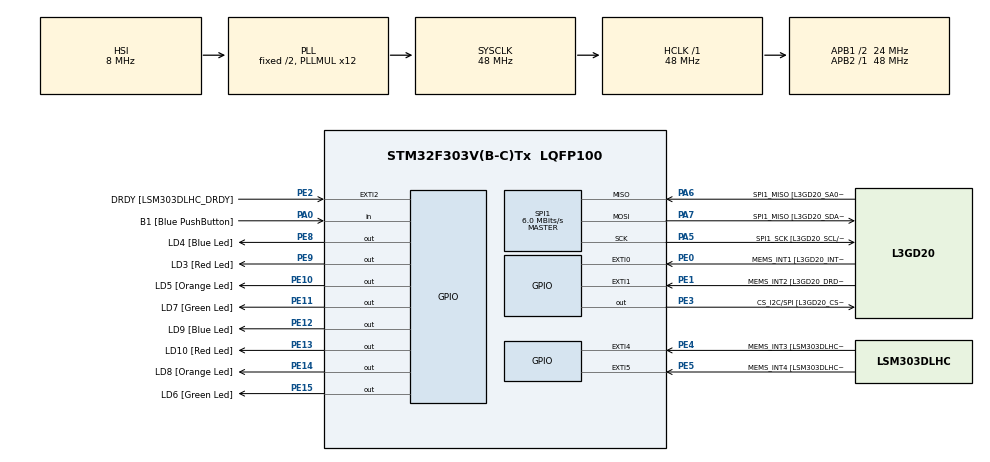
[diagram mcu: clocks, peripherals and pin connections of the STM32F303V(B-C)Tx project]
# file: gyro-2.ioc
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Mcu.Family=STM32F3
Mcu.Name=STM32F303V(B-C)Tx
Mcu.Package=LQFP100
NVIC.PriorityGroup=NVIC_PRIORITYGROUP_0
NVIC.SPI1_IRQn=true\:0\:0\:false\:false\:true\:true\:true\:true
PA0.GPIO_Label=B1 [Blue PushButton]
PA0.GPIO_Mode=GPIO_MODE_INPUT
PA0.GPIO_PuPd=GPIO_NOPULL
PA0.Signal=GPIO_Input
PA11.GPIO_Label=DM
PA11.Signal=USB_DM
PA12.GPIO_Label=DP
PA12.Signal=USB_DP
PA13.GPIO_Label=SWDIO
PA13.Signal=SYS_JTMS-SWDIO
PA14.GPIO_Label=SWCLK
PA14.Signal=SYS_JTCK-SWCLK
PA5.GPIO_Label=SPI1_SCK [L3GD20_SCL/SPC]
PA5.GPIO_Mode=GPIO_MODE_AF_PP
PA5.GPIO_PuPd=GPIO_NOPULL
PA5.GPIO_Speed=GPIO_SPEED_FREQ_LOW
PA5.Mode=Full_Duplex_Master
PA5.Signal=SPI1_SCK
PA6.GPIO_Label=SPI1_MISO [L3GD20_SA0/SDO]
PA6.GPIO_Mode=GPIO_MODE_AF_PP
PA6.GPIO_PuPd=GPIO_NOPULL
PA6.GPIO_Speed=GPIO_SPEED_FREQ_LOW
PA6.Mode=Full_Duplex_Master
PA6.Signal=SPI1_MISO
PA7.GPIO_Label=SPI1_MISO [L3GD20_SDA/SDI/SDO]
PA7.GPIO_Mode=GPIO_MODE_AF_PP
PA7.GPIO_PuPd=GPIO_NOPULL
PA7.GPIO_Speed=GPIO_SPEED_FREQ_LOW
PA7.Mode=Full_Duplex_Master
PA7.Signal=SPI1_MOSI
PB3.GPIO_Label=SWO
PB3.Signal=SYS_JTDO-TRACESWO
PB6.GPIO_FM6=__NULL
PB6.GPIO_Label=I2C1_SCL [LSM303DLHC_SCL]
PB6.GPIO_Mode=GPIO_MODE_AF_OD
PB6.GPIO_PuPd=GPIO_NOPULL
PB6.GPIO_Speed=GPIO_SPEED_FREQ_LOW
PB6.Signal=I2C1_SCL
PB7.GPIO_FM7=__NULL
PB7.GPIO_Label=I2C1_SDA [LSM303DLHC_SDA]
PB7.GPIO_Mode=GPIO_MODE_AF_OD
PB7.GPIO_PuPd=GPIO_NOPULL
PB7.GPIO_Speed=GPIO_SPEED_FREQ_LOW
PB7.Signal=I2C1_SDA
PC14-OSC32_IN.GPIO_Label=OSC32_IN
PC14-OSC32_IN.Signal=RCC_OSC32_IN
PC15-OSC32_OUT.GPIO_Label=OSC32_OUT
PC15-OSC32_OUT.Signal=RCC_OSC32_OUT
PE0.GPIO_Label=MEMS_INT1 [L3GD20_INT1]
PE0.GPIO_ModeDefaultEXTI=GPIO_MODE_EVT_RISING
PE0.GPIO_PuPd=GPIO_NOPULL
PE0.Signal=GPXTI0
PE1.GPIO_Label=MEMS_INT2 [L3GD20_DRDY/INT2]
PE1.GPIO_ModeDefaultEXTI=GPIO_MODE_EVT_RISING
PE1.GPIO_PuPd=GPIO_NOPULL
PE1.Signal=GPXTI1
PE10.GPIO_Label=LD5 [Orange Led]
PE10.GPIO_ModeDefaultOutputPP=GPIO_MODE_OUTPUT_PP
PE10.GPIO_PuPd=GPIO_NOPULL
PE10.GPIO_Speed=GPIO_SPEED_FREQ_LOW
PE10.Signal=GPIO_Output
PE11.GPIO_Label=LD7 [Green Led]
PE11.GPIO_ModeDefaultOutputPP=GPIO_MODE_OUTPUT_PP
PE11.GPIO_PuPd=GPIO_NOPULL
PE11.GPIO_Speed=GPIO_SPEED_FREQ_LOW
PE11.Signal=GPIO_Output
PE12.GPIO_Label=LD9 [Blue Led]
PE12.GPIO_ModeDefaultOutputPP=GPIO_MODE_OUTPUT_PP
PE12.GPIO_PuPd=GPIO_NOPULL
PE12.GPIO_Speed=GPIO_SPEED_FREQ_LOW
PE12.Signal=GPIO_Output
PE13.GPIO_Label=LD10 [Red Led]
PE13.GPIO_ModeDefaultOutputPP=GPIO_MODE_OUTPUT_PP
PE13.GPIO_PuPd=GPIO_NOPULL
PE13.GPIO_Speed=GPIO_SPEED_FREQ_LOW
PE13.Signal=GPIO_Output
PE14.GPIO_Label=LD8 [Orange Led]
PE14.GPIO_ModeDefaultOutputPP=GPIO_MODE_OUTPUT_PP
PE14.GPIO_PuPd=GPIO_NOPULL
PE14.GPIO_Speed=GPIO_SPEED_FREQ_LOW
PE14.Signal=GPIO_Output
PE15.GPIO_Label=LD6 [Green Led]
PE15.GPIO_ModeDefaultOutputPP=GPIO_MODE_OUTPUT_PP
PE15.GPIO_PuPd=GPIO_NOPULL
PE15.GPIO_Speed=GPIO_SPEED_FREQ_LOW
PE15.Signal=GPIO_Output
PE2.GPIO_Label=DRDY [LSM303DLHC_DRDY]
PE2.GPIO_ModeDefaultEXTI=GPIO_MODE_EVT_RISING
PE2.GPIO_PuPd=GPIO_NOPULL
PE2.Signal=GPXTI2
PE3.GPIO_Label=CS_I2C/SPI [L3GD20_CS_I2C/SPI]
PE3.GPIO_ModeDefaultOutputPP=GPIO_MODE_OUTPUT_PP
PE3.GPIO_PuPd=GPIO_NOPULL
PE3.GPIO_Speed=GPIO_SPEED_FREQ_LOW
PE3.Signal=GPIO_Output
PE4.GPIO_Label=MEMS_INT3 [LSM303DLHC_INT1]
PE4.GPIO_ModeDefaultEXTI=GPIO_MODE_EVT_RISING
PE4.GPIO_PuPd=GPIO_NOPULL
PE4.Signal=GPXTI4
PE5.GPIO_Label=MEMS_INT4 [LSM303DLHC_INT2]
PE5.GPIO_ModeDefaultEXTI=GPIO_MODE_EVT_RISING
PE5.GPIO_PuPd=GPIO_NOPULL
PE5.Signal=GPXTI5
PE8.GPIO_Label=LD4 [Blue Led]
PE8.GPIO_ModeDefaultOutputPP=GPIO_MODE_OUTPUT_PP
PE8.GPIO_PuPd=GPIO_NOPULL
PE8.GPIO_Speed=GPIO_SPEED_FREQ_LOW
PE8.Signal=GPIO_Output
PE9.GPIO_Label=LD3 [Red Led]
PE9.GPIO_ModeDefaultOutputPP=GPIO_MODE_OUTPUT_PP
PE9.GPIO_PuPd=GPIO_NOPULL
PE9.GPIO_Speed=GPIO_SPEED_FREQ_LOW
PE9.Signal=GPIO_Output
PF0-OSC_IN.GPIO_Label=OSC_IN
PF0-OSC_IN.Signal=RCC_OSC_IN
PF1-OSC_OUT.GPIO_Label=OSC_OUT
PF1-OSC_OUT.Signal=RCC_OSC_OUT
ProjectManager.HeapSize=0x200
ProjectManager.StackSize=0x400
ProjectManager.TargetToolchain=STM32CubeIDE
RCC.AHBFreq_Value=48000000
RCC.APB1CLKDivider=RCC_HCLK_DIV2
RCC.APB1Freq_Value=24000000
RCC.APB1TimFreq_Value=48000000
RCC.APB2Freq_Value=48000000
RCC.APB2TimFreq_Value=48000000
RCC.CortexFreq_Value=48000000
RCC.HCLKFreq_Value=48000000
RCC.HSE_VALUE=8000000
RCC.HSI_VALUE=8000000
RCC.LSE_VALUE=32768
RCC.PLLMUL=RCC_PLL_MUL12
RCC.SYSCLKFreq_VALUE=48000000
RCC.SYSCLKSourceVirtual=RCC_SYSCLKSOURCE_PLLCLK
RCC.USBFreq_Value=48000000
SPI1.BaudRatePrescaler=SPI_BAUDRATEPRESCALER_8
SPI1.CalculateBaudRate=6.0 MBits/s
SPI1.Direction=SPI_DIRECTION_2LINES
SPI1.Mode=SPI_MODE_MASTER
SPI1.VirtualType=VM_MASTER
board=STM32F3DISCOVERY

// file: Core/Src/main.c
/* USER CODE BEGIN Header */
/**
  ******************************************************************************
  * @file           : main.c
  * @brief          : Main program body
  ******************************************************************************
  * @attention
  *
  * Copyright (c) 2025 STMicroelectronics.
  * All rights reserved.
  *
  * This software is licensed under terms that can be found in the LICENSE file
  * in the root directory of this software component.
  * If no LICENSE file comes with this software, it is provided AS-IS.
  *
  ******************************************************************************
  */
/* USER CODE END Header */
#include "main.h"

/* USER CODE BEGIN Includes */
//#include "stm32f3xx_hal.h"
#include "l3gd20.h"
/* USER CODE END Includes */

SPI_HandleTypeDef hspi1;

/* USER CODE BEGIN PV */
L3GD20_InitTypeDef L3GD20_InitStructure;
L3GD20_FilterConfigTypeDef L3GD20_FilterStructure;
/* USER CODE END PV */

void SystemClock_Config(void);
static void MX_GPIO_Init(void);
static void MX_SPI1_Init(void);

/* USER CODE BEGIN 0 */
void Gyro_init() {
	 // Configure Gyroscope
	  L3GD20_InitStructure.Power_Mode = L3GD20_MODE_ACTIVE;
	  L3GD20_InitStructure.Output_DataRate = L3GD20_OUTPUT_DATARATE_1;
	  L3GD20_InitStructure.Axes_Enable = L3GD20_AXES_ENABLE;
	  L3GD20_InitStructure.Band_Width = L3GD20_BANDWIDTH_4;
	  L3GD20_InitStructure.BlockData_Update = L3GD20_BlockDataUpdate_Continous;
	  L3GD20_InitStructure.Endianness = L3GD20_BLE_LSB;
	  L3GD20_InitStructure.Full_Scale = L3GD20_FULLSCALE_500;
	  L3GD20_Init(&L3GD20_InitStructure);

	  // Configure Gyroscope filter
	  L3GD20_FilterStructure.HighPassFilter_Mode_Selection = L3GD20_HPM_NORMAL_MODE_RES;
	  L3GD20_FilterStructure.HighPassFilter_CutOff_Frequency = L3GD20_HPFCF_0;
	  L3GD20_FilterConfig(&L3GD20_FilterStructure);

	  L3GD20_FilterCmd(L3GD20_HIGHPASSFILTER_ENABLE);
}

void Gyro_ReadXYZ(float* pfData)
{
  uint8_t tmpbuffer[6] = {0};
  int16_t RawData[3] = {0};
  uint8_t tmpreg = 0;
  float sensitivity = 0;
  int i = 0;

  L3GD20_Read(&tmpreg, L3GD20_CTRL_REG4_ADDR, 1);

  L3GD20_Read(tmpbuffer, L3GD20_OUT_X_L_ADDR, 6);

  // Check in the control register 4 the data alignment (Big Endian or Little Endian)
  if(!(tmpreg & 0x40))
  {
    for(i = 0; i < 3; i++)
    {
      RawData[i]=(int16_t)(((uint16_t)tmpbuffer[2*i+1] << 8) + tmpbuffer[2*i]);
    }
  }
  else
  {
    for(i = 0; i < 3; i++)
    {
      RawData[i]=(int16_t)(((uint16_t)tmpbuffer[2*i] << 8) + tmpbuffer[2*i+1]);
    }
  }

  // Switch the sensitivity value set in the CTRL4
  switch(tmpreg & 0x30)
  {
  case 0x00:
    sensitivity = L3GD20_SENSITIVITY_250DPS;
    break;

  case 0x10:
    sensitivity = L3GD20_SENSITIVITY_500DPS;
    break;

  case 0x20:
    sensitivity = L3GD20_SENSITIVITY_2000DPS;
    break;
  }

  // Divide by sensitivity
  for(i = 0; i < 3; i++)
  {
    pfData[i] = (float)(RawData[i] * sensitivity);
  }
}

/* USER CODE END 0 */

int main(void)
{

  /* MCU Configuration--------------------------------------------------------*/

  /* Reset of all peripherals, Initializes the Flash interface and the Systick. */
  HAL_Init();

  /* Configure the system clock */
  SystemClock_Config();

  /* Initialize all configured peripherals */
  MX_GPIO_Init();
  MX_SPI1_Init();
  /* USER CODE BEGIN 2 */
  Gyro_Init();
  /* USER CODE END 2 */

  /* Infinite loop */
  /* USER CODE BEGIN WHILE */
  while (1)
  {
	   Gyro_ReadXYZ(gyroData);
	    // Use gyroData[0], gyroData[1], gyroData[2] for X, Y, Z angular rates

	    HAL_Delay(100); // Read every 100ms
    /* USER CODE END WHILE */

  }
}

void SystemClock_Config(void)
{
  RCC_OscInitTypeDef RCC_OscInitStruct = {0};
  RCC_ClkInitTypeDef RCC_ClkInitStruct = {0};

  /** Initializes the RCC Oscillators according to the specified parameters
  * in the RCC_OscInitTypeDef structure.
  */
  RCC_OscInitStruct.OscillatorType = RCC_OSCILLATORTYPE_HSI;
  RCC_OscInitStruct.HSIState = RCC_HSI_ON;
  RCC_OscInitStruct.HSICalibrationValue = RCC_HSICALIBRATION_DEFAULT;
  RCC_OscInitStruct.PLL.PLLState = RCC_PLL_ON;
  RCC_OscInitStruct.PLL.PLLSource = RCC_PLLSOURCE_HSI;
  RCC_OscInitStruct.PLL.PLLMUL = RCC_PLL_MUL12;
  if (HAL_RCC_OscConfig(&RCC_OscInitStruct) != HAL_OK)
  {
    Error_Handler();
  }

  /** Initializes the CPU, AHB and APB buses clocks
  */
  RCC_ClkInitStruct.ClockType = RCC_CLOCKTYPE_HCLK|RCC_CLOCKTYPE_SYSCLK
                              |RCC_CLOCKTYPE_PCLK1|RCC_CLOCKTYPE_PCLK2;
  RCC_ClkInitStruct.SYSCLKSource = RCC_SYSCLKSOURCE_PLLCLK;
  RCC_ClkInitStruct.AHBCLKDivider = RCC_SYSCLK_DIV1;
  RCC_ClkInitStruct.APB1CLKDivider = RCC_HCLK_DIV2;
  RCC_ClkInitStruct.APB2CLKDivider = RCC_HCLK_DIV1;

  if (HAL_RCC_ClockConfig(&RCC_ClkInitStruct, FLASH_LATENCY_1) != HAL_OK)
  {
    Error_Handler();
  }
}

static void MX_SPI1_Init(void)
{

  /* SPI1 parameter configuration*/
  hspi1.Instance = SPI1;
  hspi1.Init.Mode = SPI_MODE_MASTER;
  hspi1.Init.Direction = SPI_DIRECTION_2LINES;
  hspi1.Init.DataSize = SPI_DATASIZE_4BIT;
  hspi1.Init.CLKPolarity = SPI_POLARITY_LOW;
  hspi1.Init.CLKPhase = SPI_PHASE_1EDGE;
  hspi1.Init.NSS = SPI_NSS_SOFT;
  hspi1.Init.BaudRatePrescaler = SPI_BAUDRATEPRESCALER_8;
  hspi1.Init.FirstBit = SPI_FIRSTBIT_MSB;
  hspi1.Init.TIMode = SPI_TIMODE_DISABLE;
  hspi1.Init.CRCCalculation = SPI_CRCCALCULATION_DISABLE;
  hspi1.Init.CRCPolynomial = 7;
  hspi1.Init.CRCLength = SPI_CRC_LENGTH_DATASIZE;
  hspi1.Init.NSSPMode = SPI_NSS_PULSE_ENABLE;
  if (HAL_SPI_Init(&hspi1) != HAL_OK)
  {
    Error_Handler();
  }

}

static void MX_GPIO_Init(void)
{
  GPIO_InitTypeDef GPIO_InitStruct = {0};

  /* GPIO Ports Clock Enable */
  __HAL_RCC_GPIOE_CLK_ENABLE();
  __HAL_RCC_GPIOC_CLK_ENABLE();
  __HAL_RCC_GPIOF_CLK_ENABLE();
  __HAL_RCC_GPIOA_CLK_ENABLE();
  __HAL_RCC_GPIOB_CLK_ENABLE();

  /*Configure GPIO pin Output Level */
  HAL_GPIO_WritePin(GPIOE, CS_I2C_SPI_Pin|LD4_Pin|LD3_Pin|LD5_Pin
                          |LD7_Pin|LD9_Pin|LD10_Pin|LD8_Pin
                          |LD6_Pin, GPIO_PIN_RESET);

  /*Configure GPIO pins : DRDY_Pin MEMS_INT3_Pin MEMS_INT4_Pin MEMS_INT1_Pin
                           MEMS_INT2_Pin */
  GPIO_InitStruct.Pin = DRDY_Pin|MEMS_INT3_Pin|MEMS_INT4_Pin|MEMS_INT1_Pin
                          |MEMS_INT2_Pin;
  GPIO_InitStruct.Mode = GPIO_MODE_EVT_RISING;
  GPIO_InitStruct.Pull = GPIO_NOPULL;
  HAL_GPIO_Init(GPIOE, &GPIO_InitStruct);

  /*Configure GPIO pins : CS_I2C_SPI_Pin LD4_Pin LD3_Pin LD5_Pin
                           LD7_Pin LD9_Pin LD10_Pin LD8_Pin
                           LD6_Pin */
  GPIO_InitStruct.Pin = CS_I2C_SPI_Pin|LD4_Pin|LD3_Pin|LD5_Pin
                          |LD7_Pin|LD9_Pin|LD10_Pin|LD8_Pin
                          |LD6_Pin;
  GPIO_InitStruct.Mode = GPIO_MODE_OUTPUT_PP;
  GPIO_InitStruct.Pull = GPIO_NOPULL;
  GPIO_InitStruct.Speed = GPIO_SPEED_FREQ_LOW;
  HAL_GPIO_Init(GPIOE, &GPIO_InitStruct);

  /*Configure GPIO pin : B1_Pin */
  GPIO_InitStruct.Pin = B1_Pin;
  GPIO_InitStruct.Mode = GPIO_MODE_INPUT;
  GPIO_InitStruct.Pull = GPIO_NOPULL;
  HAL_GPIO_Init(B1_GPIO_Port, &GPIO_InitStruct);

  /*Configure GPIO pins : DM_Pin DP_Pin */
  GPIO_InitStruct.Pin = DM_Pin|DP_Pin;
  GPIO_InitStruct.Mode = GPIO_MODE_AF_PP;
  GPIO_InitStruct.Pull = GPIO_NOPULL;
  GPIO_InitStruct.Speed = GPIO_SPEED_FREQ_HIGH;
  GPIO_InitStruct.Alternate = GPIO_AF14_USB;
  HAL_GPIO_Init(GPIOA, &GPIO_InitStruct);

  /*Configure GPIO pins : I2C1_SCL_Pin I2C1_SDA_Pin */
  GPIO_InitStruct.Pin = I2C1_SCL_Pin|I2C1_SDA_Pin;
  GPIO_InitStruct.Mode = GPIO_MODE_AF_OD;
  GPIO_InitStruct.Pull = GPIO_NOPULL;
  GPIO_InitStruct.Speed = GPIO_SPEED_FREQ_LOW;
  GPIO_InitStruct.Alternate = GPIO_AF4_I2C1;
  HAL_GPIO_Init(GPIOB, &GPIO_InitStruct);

}

void Error_Handler(void)
{
  __disable_irq();
  while (1)
  {
  }
}
